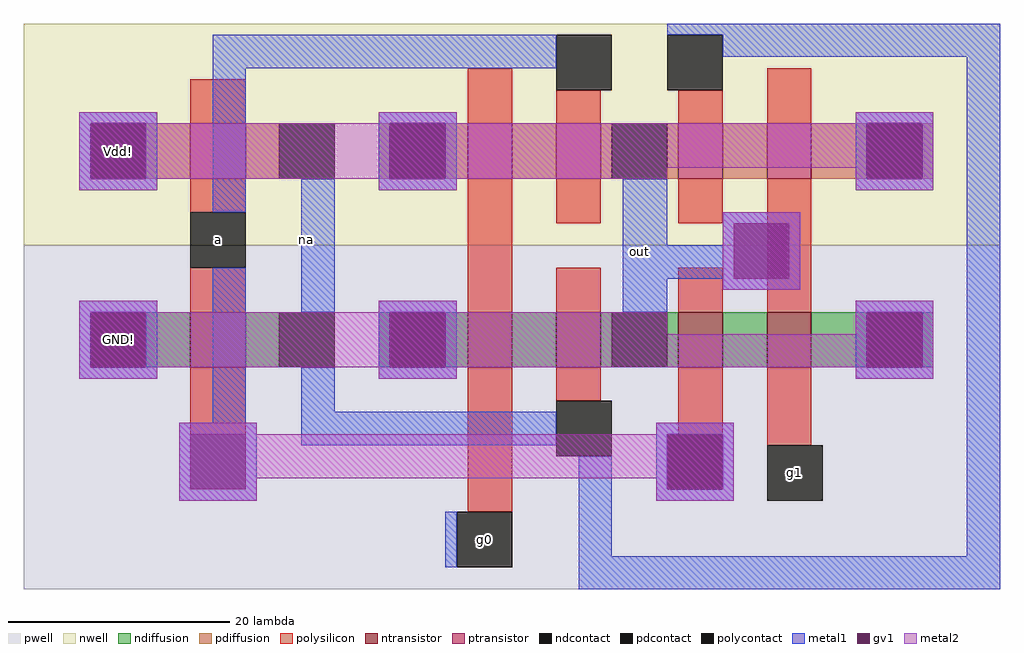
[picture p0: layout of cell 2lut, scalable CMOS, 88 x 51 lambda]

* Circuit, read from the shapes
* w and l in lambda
.subckt 2lut GND! Vdd! a g0 g1 na out
M1 na a GND! VSUBS nfet w=5 l=5
M2 n1 g0 GND! VSUBS nfet w=5 l=4
M3 out na n1 VSUBS nfet w=5 l=4
M4 n2 a out VSUBS nfet w=5 l=4
M5 GND! g1 n2 VSUBS nfet w=5 l=4
M6 na a Vdd! n3 pfet w=5 l=5
M7 n4 g0 Vdd! n3 pfet w=5 l=4
M8 out a n4 n3 pfet w=5 l=4
M9 n5 na out n3 pfet w=5 l=4
M10 Vdd! g1 n5 n3 pfet w=5 l=4
.ends

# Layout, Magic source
magic
tech scmos
<< nwell >>
rect -47 0 41 20
<< pwell >>
rect -47 -31 41 0
<< ntransistor >>
rect -32 -11 -27 -6
rect -7 -11 -3 -6
rect 1 -11 5 -6
rect 12 -11 16 -6
rect 20 -11 24 -6
<< ptransistor >>
rect -32 6 -27 11
rect -7 6 -3 11
rect 1 6 5 11
rect 12 6 16 11
rect 20 6 24 11
<< ndiffusion >>
rect -36 -11 -32 -6
rect -27 -11 -24 -6
rect -15 -11 -14 -6
rect -9 -11 -7 -6
rect -3 -11 1 -6
rect 5 -11 6 -6
rect 11 -11 12 -6
rect 16 -11 20 -6
rect 24 -11 29 -6
rect 34 -11 35 -6
<< pdiffusion >>
rect -36 6 -32 11
rect -27 6 -24 11
rect -15 6 -14 11
rect -9 6 -7 11
rect -3 6 1 11
rect 5 6 6 11
rect 11 6 12 11
rect 16 6 20 11
rect 24 6 29 11
rect 34 6 35 11
<< ndcontact >>
rect -41 -11 -36 -6
rect -24 -11 -19 -6
rect -14 -11 -9 -6
rect 6 -11 11 -6
rect 29 -11 34 -6
<< pdcontact >>
rect -41 6 -36 11
rect -24 6 -19 11
rect -14 6 -9 11
rect 6 6 11 11
rect 29 6 34 11
<< polysilicon >>
rect -32 11 -27 15
rect -7 11 -3 16
rect 1 11 5 14
rect 12 11 16 14
rect 20 11 24 16
rect -32 3 -27 6
rect -32 -6 -27 -2
rect -7 -6 -3 6
rect 1 2 5 6
rect 12 2 16 6
rect 1 -6 5 -2
rect 12 -6 16 -2
rect 20 -6 24 6
rect -32 -17 -27 -11
rect -7 -24 -3 -11
rect 1 -14 5 -11
rect 12 -17 16 -11
rect 20 -18 24 -11
<< polycontact >>
rect 1 14 6 19
rect 11 14 16 19
rect -32 -2 -27 3
rect 1 -19 6 -14
rect 11 -22 16 -17
rect 20 -23 25 -18
rect -8 -29 -3 -24
<< metal1 >>
rect 11 19 41 20
rect -30 16 1 19
rect -42 11 -35 12
rect -42 6 -41 11
rect -36 6 -35 11
rect -42 5 -35 6
rect -30 3 -27 16
rect 16 17 41 19
rect -15 11 -8 12
rect 28 11 35 12
rect -42 -6 -35 -5
rect -42 -11 -41 -6
rect -36 -11 -35 -6
rect -42 -12 -35 -11
rect -30 -16 -27 -2
rect -22 -6 -19 6
rect -15 6 -14 11
rect -9 6 -8 11
rect -15 5 -8 6
rect 7 0 11 6
rect 28 6 29 11
rect 34 6 35 11
rect 28 5 35 6
rect 16 0 23 3
rect 7 -3 23 0
rect -22 -15 -19 -11
rect -15 -6 -8 -5
rect 7 -6 11 -3
rect 16 -4 23 -3
rect -15 -11 -14 -6
rect -9 -11 -8 -6
rect 28 -6 35 -5
rect 28 -11 29 -6
rect 34 -11 35 -6
rect -15 -12 -8 -11
rect 28 -12 35 -11
rect -33 -23 -26 -16
rect -22 -18 1 -15
rect -9 -29 -8 -24
rect 3 -28 6 -19
rect 10 -17 17 -16
rect 10 -22 11 -17
rect 16 -22 17 -17
rect 10 -23 17 -22
rect 38 -28 41 17
rect 3 -31 41 -28
<< metal2 >>
rect -42 11 -35 12
rect -15 11 -8 12
rect 28 11 35 12
rect -42 7 35 11
rect -42 6 11 7
rect -42 5 -35 6
rect -15 5 -8 6
rect 28 5 35 7
rect 16 -4 23 3
rect -42 -6 -35 -5
rect -15 -6 -8 -5
rect -42 -8 11 -6
rect 28 -8 35 -5
rect -42 -11 35 -8
rect -42 -12 -35 -11
rect -15 -12 -8 -11
rect 28 -12 35 -11
rect -33 -17 -26 -16
rect 10 -17 17 -16
rect -33 -21 17 -17
rect -33 -23 -26 -21
rect 10 -23 17 -21
<< gv1 >>
rect -41 6 -36 11
rect -14 6 -9 11
rect 29 6 34 11
rect 17 -3 22 2
rect -41 -11 -36 -6
rect -14 -11 -9 -6
rect 29 -11 34 -6
rect -32 -22 -27 -17
rect 11 -22 16 -17
<< labels >>
rlabel gv1 -39 8 -38 9 1 Vdd!
rlabel polycontact -30 0 -29 1 1 a
rlabel metal1 -22 0 -21 1 1 na
rlabel gv1 -39 -9 -38 -8 1 GND!
rlabel polycontact 22 -21 23 -20 1 g1
rlabel polycontact -6 -27 -5 -26 1 g0
rlabel metal1 8 -1 9 0 1 out
<< end >>
